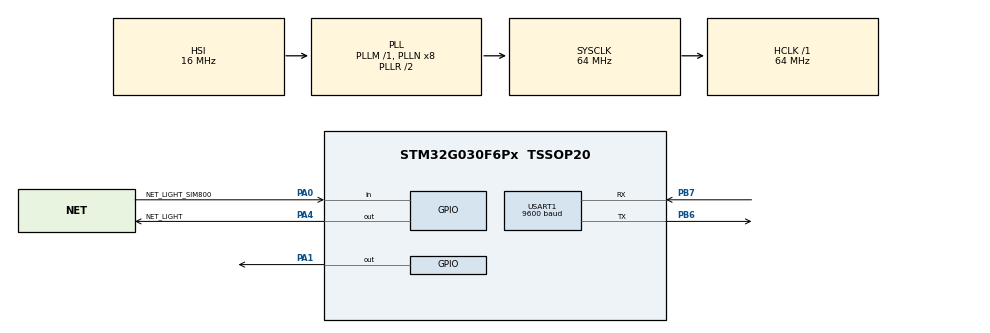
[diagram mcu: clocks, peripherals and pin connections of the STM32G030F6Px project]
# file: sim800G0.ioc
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Dma.Request0=USART1_RX
Dma.Request1=USART1_TX
Dma.USART1_RX.0.Direction=DMA_PERIPH_TO_MEMORY
Dma.USART1_RX.0.EventEnable=DISABLE
Dma.USART1_RX.0.Instance=DMA1_Channel1
Dma.USART1_RX.0.MemDataAlignment=DMA_MDATAALIGN_BYTE
Dma.USART1_RX.0.MemInc=DMA_MINC_ENABLE
Dma.USART1_RX.0.Mode=DMA_NORMAL
Dma.USART1_RX.0.PeriphDataAlignment=DMA_PDATAALIGN_BYTE
Dma.USART1_RX.0.PeriphInc=DMA_PINC_DISABLE
Dma.USART1_RX.0.Polarity=HAL_DMAMUX_REQ_GEN_RISING
Dma.USART1_RX.0.Priority=DMA_PRIORITY_LOW
Dma.USART1_RX.0.RequestNumber=1
Dma.USART1_RX.0.SignalID=NONE
Dma.USART1_RX.0.SyncEnable=DISABLE
Dma.USART1_RX.0.SyncPolarity=HAL_DMAMUX_SYNC_NO_EVENT
Dma.USART1_RX.0.SyncRequestNumber=1
Dma.USART1_RX.0.SyncSignalID=NONE
Dma.USART1_TX.1.Direction=DMA_MEMORY_TO_PERIPH
Dma.USART1_TX.1.EventEnable=DISABLE
Dma.USART1_TX.1.Instance=DMA1_Channel2
Dma.USART1_TX.1.MemDataAlignment=DMA_MDATAALIGN_BYTE
Dma.USART1_TX.1.MemInc=DMA_MINC_ENABLE
Dma.USART1_TX.1.Mode=DMA_NORMAL
Dma.USART1_TX.1.PeriphDataAlignment=DMA_PDATAALIGN_BYTE
Dma.USART1_TX.1.PeriphInc=DMA_PINC_DISABLE
Dma.USART1_TX.1.Polarity=HAL_DMAMUX_REQ_GEN_RISING
Dma.USART1_TX.1.Priority=DMA_PRIORITY_LOW
Dma.USART1_TX.1.RequestNumber=1
Dma.USART1_TX.1.SignalID=NONE
Dma.USART1_TX.1.SyncEnable=DISABLE
Dma.USART1_TX.1.SyncPolarity=HAL_DMAMUX_SYNC_NO_EVENT
Dma.USART1_TX.1.SyncRequestNumber=1
Dma.USART1_TX.1.SyncSignalID=NONE
Mcu.Family=STM32G0
Mcu.Name=STM32G030F6Px
Mcu.Package=TSSOP20
NVIC.DMA1_Channel1_IRQn=true\:0\:0\:false\:false\:true\:false\:true
NVIC.DMA1_Channel2_3_IRQn=true\:0\:0\:false\:false\:true\:false\:true
NVIC.TIM14_IRQn=true\:0\:0\:false\:false\:true\:true\:true
NVIC.USART1_IRQn=true\:0\:0\:false\:false\:true\:true\:true
PA0.GPIO_Label=NET_LIGHT_SIM800
PA0.GPIO_PuPd=GPIO_PULLUP
PA0.Signal=GPIO_Input
PA1.Signal=GPIO_Output
PA13.Mode=Serial_Wire
PA13.Signal=SYS_SWDIO
PA14-BOOT0.Mode=Serial_Wire
PA14-BOOT0.Signal=SYS_SWCLK
PA4.GPIO_Label=NET_LIGHT
PA4.Signal=GPIO_Output
PB6.Mode=Asynchronous
PB6.Signal=USART1_TX
PB7.Mode=Asynchronous
PB7.Signal=USART1_RX
ProjectManager.HeapSize=0x200
ProjectManager.StackSize=0x400
ProjectManager.TargetToolchain=MDK-ARM V5.27
RCC.ADCFreq_Value=64000000
RCC.AHBFreq_Value=64000000
RCC.CortexFreq_Value=64000000
RCC.EXTERNAL_CLOCK_VALUE=12288000
RCC.HCLKFreq_Value=64000000
RCC.HSE_VALUE=8000000
RCC.HSI_VALUE=16000000
RCC.LSE_VALUE=32768
RCC.SYSCLKFreq_VALUE=64000000
RCC.SYSCLKSource=RCC_SYSCLKSOURCE_PLLCLK
RCC.VCOOutputFreq_Value=128000000
TIM14.Period=999
TIM14.Prescaler=63
USART1.BaudRate=9600
USART1.VirtualMode-Asynchronous=VM_ASYNC
VP_TIM14_VS_ClockSourceINT.Mode=Enable_Timer
board=custom

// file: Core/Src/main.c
/* USER CODE BEGIN Header */
/**
  ******************************************************************************
  * @file           : main.c
  * @brief          : Main program body
  ******************************************************************************
  * @attention
  *
  * <h2><center>&copy; Copyright (c) 2022 STMicroelectronics.
  * All rights reserved.</center></h2>
  *
  * This software component is licensed by ST under BSD 3-Clause license,
  * the "License"; You may not use this file except in compliance with the
  * License. You may obtain a copy of the License at:
  *                        opensource.org/licenses/BSD-3-Clause
  *
  ******************************************************************************
  */
/* USER CODE END Header */
#include "main.h"
#include "dma.h"
#include "tim.h"
#include "usart.h"
#include "gpio.h"

/* USER CODE BEGIN Includes */
#include "Sim800Handler.h"
/* USER CODE END Includes */

void SystemClock_Config(void);
/* USER CODE BEGIN PFP */
void UARTStream_init(UARTStream* stream, UART_HandleTypeDef* huart, DMA_HandleTypeDef* rxDma, DMA_HandleTypeDef* txDma, uint8_t* rxBuff, Stream_LenType rxBuffSize, uint8_t* txBuff, Stream_LenType txBuffLen);
void UARTStream_rxHandle(UARTStream* stream);
void UARTStream_txHandle(UARTStream* stream);
static const char CRLF[2] = "\r\n";
void UARTStream_stopReceiveDMA(UARTStream* stream);
void UARTStream_stopTransmitDMA(UARTStream* stream);

void UARTStream_transmit(OStream* stream, uint8_t* buff, Stream_LenType len);
void UARTStream_receive(IStream* stream, uint8_t* buff, Stream_LenType len);
Stream_LenType UARTStream_checkReceive(IStream* stream);
uint8_t val = 0;
counter_t cnt;
/* USER CODE END PFP */

int main(void)
{

  /* MCU Configuration--------------------------------------------------------*/

  /* Reset of all peripherals, Initializes the Flash interface and the Systick. */
  HAL_Init();

  /* Configure the system clock */
  SystemClock_Config();

  /* Initialize all configured peripherals */
  MX_GPIO_Init();
  MX_DMA_Init();
  MX_USART1_UART_Init();
  MX_TIM14_Init();
  /* USER CODE BEGIN 2 */
	HAL_TIM_Base_Start_IT(&htim14);

	UARTStream_init(&uartStream1, &huart1, &hdma_usart1_rx, &hdma_usart1_tx,uartStream1RxBuff, sizeof(uartStream1RxBuff), uartStream1TxBuff, sizeof(uartStream1TxBuff));

	IStream_receive(&uartStream1.In);

	OStream_writeBytes(&uartStream1.Out, (uint8_t*) "Running...\r\n", 12);
	OStream_flush(&uartStream1.Out);
	uint8_t index;

	//pwrkey_on(PWRKEY_GPIO_Port, PWRKEY_Pin);
	HAL_GPIO_WritePin(GPIOA, GPIO_PIN_1, GPIO_PIN_SET);
	HAL_Delay(1500);
	HAL_GPIO_WritePin(GPIOA, GPIO_PIN_1, GPIO_PIN_RESET);
	HAL_Delay(5000);
  Sim800_config();
  /* USER CODE END 2 */

  /* Infinite loop */
  /* USER CODE BEGIN WHILE */
  while (1)
  {

		 Uart_dataPars_();
		/*while (IStream_available(&uartStream1.In) > 0)
		{
			val = IStream_readUInt8(&uartStream1.In);

		}
		 OStream_writeBytes(&uartStream1.Out, (uint8_t*) "AT\r\n", 5);
	   OStream_flush(&uartStream1.Out);
		  HAL_Delay(500);
		// OStream_writeBytes(&uartStream1.Out, (uint8_t*) "AT\r\n", 5);
	  // OStream_flush(&uartStream1.Out);
		//  HAL_Delay(500);*/
    /* USER CODE END WHILE */

  }
}

void SystemClock_Config(void)
{
  RCC_OscInitTypeDef RCC_OscInitStruct = {0};
  RCC_ClkInitTypeDef RCC_ClkInitStruct = {0};

  /** Configure the main internal regulator output voltage
  */
  HAL_PWREx_ControlVoltageScaling(PWR_REGULATOR_VOLTAGE_SCALE1);
  /** Initializes the RCC Oscillators according to the specified parameters
  * in the RCC_OscInitTypeDef structure.
  */
  RCC_OscInitStruct.OscillatorType = RCC_OSCILLATORTYPE_HSI;
  RCC_OscInitStruct.HSIState = RCC_HSI_ON;
  RCC_OscInitStruct.HSIDiv = RCC_HSI_DIV1;
  RCC_OscInitStruct.HSICalibrationValue = RCC_HSICALIBRATION_DEFAULT;
  RCC_OscInitStruct.PLL.PLLState = RCC_PLL_ON;
  RCC_OscInitStruct.PLL.PLLSource = RCC_PLLSOURCE_HSI;
  RCC_OscInitStruct.PLL.PLLM = RCC_PLLM_DIV1;
  RCC_OscInitStruct.PLL.PLLN = 8;
  RCC_OscInitStruct.PLL.PLLP = RCC_PLLP_DIV2;
  RCC_OscInitStruct.PLL.PLLR = RCC_PLLR_DIV2;
  if (HAL_RCC_OscConfig(&RCC_OscInitStruct) != HAL_OK)
  {
    Error_Handler();
  }
  /** Initializes the CPU, AHB and APB buses clocks
  */
  RCC_ClkInitStruct.ClockType = RCC_CLOCKTYPE_HCLK|RCC_CLOCKTYPE_SYSCLK
                              |RCC_CLOCKTYPE_PCLK1;
  RCC_ClkInitStruct.SYSCLKSource = RCC_SYSCLKSOURCE_PLLCLK;
  RCC_ClkInitStruct.AHBCLKDivider = RCC_SYSCLK_DIV1;
  RCC_ClkInitStruct.APB1CLKDivider = RCC_HCLK_DIV1;

  if (HAL_RCC_ClockConfig(&RCC_ClkInitStruct, FLASH_LATENCY_2) != HAL_OK)
  {
    Error_Handler();
  }
}

/* USER CODE BEGIN 4 */

void UARTStream_init(UARTStream* stream, UART_HandleTypeDef* huart, DMA_HandleTypeDef* rxDma, DMA_HandleTypeDef* txDma, uint8_t* rxBuff, Stream_LenType rxBuffSize, uint8_t* txBuff, Stream_LenType txBuffSize) {
	stream->HUART = huart;
	stream->RxDMA = rxDma;
	stream->TxDMA = txDma;
	IStream_init(&stream->In, UARTStream_receive, rxBuff, rxBuffSize);
	IStream_setCheckReceive(&stream->In, UARTStream_checkReceive);
	IStream_setArgs(&stream->In, stream);
	OStream_init(&stream->Out, UARTStream_transmit, txBuff, txBuffSize);
	OStream_setArgs(&stream->Out, stream);
	//OStream_setCheckReceive(&stream->In, UARTStream_checkReceive);
}
void UARTStream_rxHandle(UARTStream* stream) {
	IStream_handle(&stream->In, IStream_incomingBytes(&stream->In));
}
void UARTStream_txHandle(UARTStream* stream) {
	OStream_handle(&stream->Out, OStream_outgoingBytes(&stream->Out));
}

void UARTStream_transmit(OStream* stream, uint8_t* buff, Stream_LenType len) {
	UARTStream* uartStream = (UARTStream*) OStream_getArgs(stream);
	UARTStream_stopTransmitDMA(uartStream);
	HAL_UART_Transmit_DMA(uartStream->HUART, buff, len);
}
void UARTStream_receive(IStream* stream, uint8_t* buff, Stream_LenType len) {
	UARTStream* uartStream = (UARTStream*) IStream_getArgs(stream);
	UARTStream_stopReceiveDMA(uartStream);
	HAL_UART_Receive_DMA(uartStream->HUART, buff, len);
}
Stream_LenType UARTStream_checkReceive(IStream* stream) {
	UARTStream* uartStream = (UARTStream*) IStream_getArgs(stream);
	return IStream_incomingBytes(stream) - uartStream->RxDMA->Instance->CNDTR;
}

void HAL_UART_RxCpltCallback(UART_HandleTypeDef* huart) {
	switch ((uint32_t) huart->Instance) {
		case USART1_BASE:
			UARTStream_rxHandle(&uartStream1);
		//  BUF.FifoRx[BUF.FifoIndex++] =

			break;
	}
}

void HAL_UART_TxCpltCallback(UART_HandleTypeDef* huart) {
	switch ((uint32_t) huart->Instance) {
		case USART1_BASE:
			UARTStream_txHandle(&uartStream1);
			break;
	}
}
void UARTStream_stopReceiveDMA(UARTStream* stream) {
	UART_HandleTypeDef* huart = stream->HUART;
	uint32_t dmarequest = HAL_IS_BIT_SET(huart->Instance->CR3, USART_CR3_DMAR);
  if ((huart->RxState == HAL_UART_STATE_BUSY_RX) && dmarequest)
  {
    CLEAR_BIT(huart->Instance->CR3, USART_CR3_DMAR);

    /* Abort the UART DMA Rx stream */
    if (huart->hdmarx != NULL)
    {
      HAL_DMA_Abort(huart->hdmarx);
    }
    /* Disable RXNE, PE and ERR (Frame error, noise error, overrun error) interrupts */
		CLEAR_BIT(huart->Instance->CR1, (USART_CR1_RXNEIE_RXFNEIE | USART_CR1_PEIE));
		CLEAR_BIT(huart->Instance->CR3, USART_CR3_EIE);

		/* At end of Rx process, restore huart->RxState to Ready */
		huart->RxState = HAL_UART_STATE_READY;
  }
}
void UARTStream_stopTransmitDMA(UARTStream* stream) {
	UART_HandleTypeDef* huart = stream->HUART;
	uint32_t dmarequest = HAL_IS_BIT_SET(huart->Instance->CR3, USART_CR3_DMAT);
  if ((huart->gState == HAL_UART_STATE_BUSY_TX) && dmarequest)
  {
    CLEAR_BIT(huart->Instance->CR3, USART_CR3_DMAT);

    /* Abort the UART DMA Tx stream */
    if (huart->hdmatx != NULL)
    {
      HAL_DMA_Abort(huart->hdmatx);
    }
    /* Disable TXEIE and TCIE interrupts */
		CLEAR_BIT(huart->Instance->CR1, (USART_CR1_TXEIE_TXFNFIE | USART_CR1_TCIE));

		/* At end of Tx process, restore huart->gState to Ready */
		huart->gState = HAL_UART_STATE_READY;
  }
}

void HAL_TIM_PeriodElapsedCallback(TIM_HandleTypeDef *htim)
{
	if(htim->Instance == TIM14)
	{
		cnt.CurrentTime++;

		if(HAL_GPIO_ReadPin(NET_LIGHT_SIM800_GPIO_Port, NET_LIGHT_SIM800_Pin) == 0)
		{
			HAL_GPIO_WritePin(NET_LIGHT_GPIO_Port, NET_LIGHT_Pin, GPIO_PIN_RESET);
		}
		else{
			HAL_GPIO_WritePin(NET_LIGHT_GPIO_Port, NET_LIGHT_Pin, GPIO_PIN_SET);
		}
	}
}
/* USER CODE END 4 */

void Error_Handler(void)
{
  __disable_irq();
  while (1)
  {
  }
}
